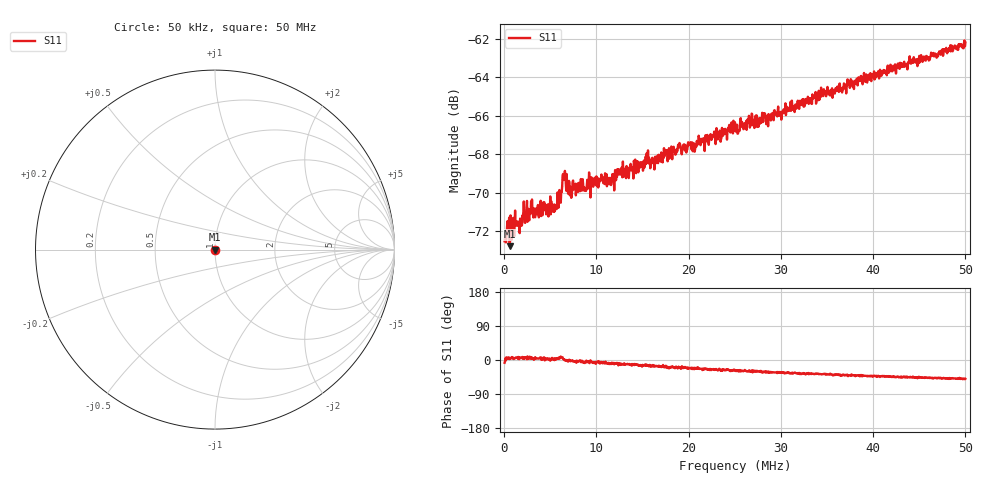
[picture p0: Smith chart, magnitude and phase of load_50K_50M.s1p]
# HZ S RI R 50
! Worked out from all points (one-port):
!   1010 points, 50 kHz to 50 MHz, reference 50 ohm
!   lowest |S11| = -72.8 dB at 594.5 kHz (marker M1), VSWR 1.00, Z = 50 + j0.000991 ohm
!   |S11| at or under -10 dB: start of sweep to end of sweep
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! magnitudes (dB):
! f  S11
! 50 kHz  -72.5
! 594.5 kHz  -72.8
! 1.684 MHz  -72.1
! 2.228 MHz  -71.5
! 2.476 MHz  -70.4
! 4.208 MHz  -70.7
! 5.446 MHz  -70.6
! 5.941 MHz  -70.1
! 6.337 MHz  -69.1
! 6.535 MHz  -69.3
! 7.08 MHz  -69.5
! 8.317 MHz  -69.3
! 8.862 MHz  -69.9
! 10.79 MHz  -69.3
! 11.39 MHz  -69.6
! 12.57 MHz  -69.1
! 14.8 MHz  -68.5
! 15.54 MHz  -68.4
! 16.09 MHz  -68.2
! 18.81 MHz  -67.7
! 20.15 MHz  -67.5
! 20.69 MHz  -67.8
! 21.24 MHz  -67.2
! 25.05 MHz  -66.4
! 31.29 MHz  -65.6
! 37.52 MHz  -64.2
! 43.76 MHz  -63.2
! 50 MHz  -62.2
